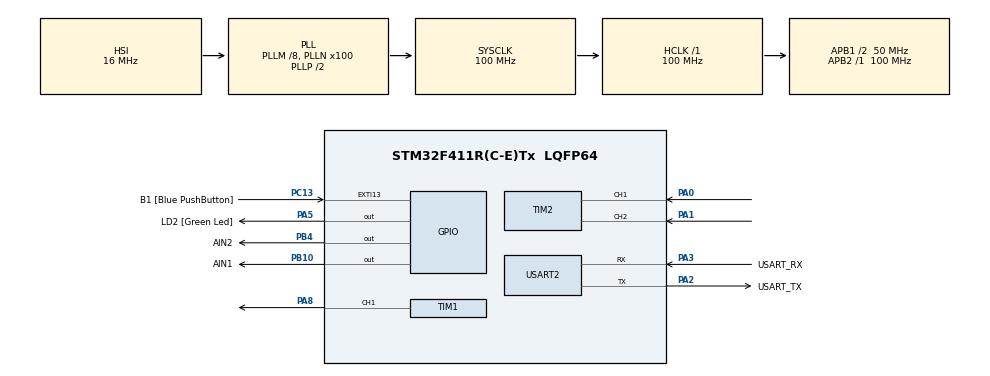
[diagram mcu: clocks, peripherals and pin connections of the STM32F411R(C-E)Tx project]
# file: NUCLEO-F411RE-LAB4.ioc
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ARM.CMSIS.5.6.0.CMSISJjCORE=true
ARM.CMSIS.5.6.0.CMSISJjDSP=Library
Mcu.Family=STM32F4
Mcu.Name=STM32F411R(C-E)Tx
Mcu.Package=LQFP64
NVIC.PriorityGroup=NVIC_PRIORITYGROUP_0
NVIC.TIM3_IRQn=true\:0\:0\:false\:false\:true\:true\:true\:true
PA0-WKUP.Signal=S_TIM2_CH1_ETR
PA1.Signal=S_TIM2_CH2
PA13.GPIO_Label=TMS
PA13.Mode=Trace_Asynchronous_SW
PA13.Signal=SYS_JTMS-SWDIO
PA14.GPIO_Label=TCK
PA14.Mode=Trace_Asynchronous_SW
PA14.Signal=SYS_JTCK-SWCLK
PA2.GPIO_Label=USART_TX
PA2.Mode=Asynchronous
PA2.Signal=USART2_TX
PA3.GPIO_Label=USART_RX
PA3.Mode=Asynchronous
PA3.Signal=USART2_RX
PA5.GPIO_Label=LD2 [Green Led]
PA5.Signal=GPIO_Output
PA8.Signal=S_TIM1_CH1
PB10.GPIO_Label=AIN1
PB10.Signal=GPIO_Output
PB3.GPIO_Label=SWO
PB3.Mode=Trace_Asynchronous_SW
PB3.Signal=SYS_JTDO-SWO
PB4.GPIO_Label=AIN2
PB4.Signal=GPIO_Output
PC13-ANTI_TAMP.GPIO_Label=B1 [Blue PushButton]
PC13-ANTI_TAMP.GPIO_ModeDefaultEXTI=GPIO_MODE_IT_FALLING
PC13-ANTI_TAMP.Signal=GPXTI13
PC14-OSC32_IN.Mode=LSE-External-Oscillator
PC14-OSC32_IN.Signal=RCC_OSC32_IN
PC15-OSC32_OUT.Mode=LSE-External-Oscillator
PC15-OSC32_OUT.Signal=RCC_OSC32_OUT
PH0\ -\ OSC_IN.Mode=HSE-External-Clock-Source
PH0\ -\ OSC_IN.Signal=RCC_OSC_IN
PH1\ -\ OSC_OUT.Mode=HSE-External-Clock-Source
PH1\ -\ OSC_OUT.Signal=RCC_OSC_OUT
ProjectManager.HeapSize=0x200
ProjectManager.StackSize=0x400
ProjectManager.TargetToolchain=STM32CubeIDE
RCC.48MHZClocksFreq_Value=50000000
RCC.AHBFreq_Value=100000000
RCC.APB1CLKDivider=RCC_HCLK_DIV2
RCC.APB1Freq_Value=50000000
RCC.APB1TimFreq_Value=100000000
RCC.APB2Freq_Value=100000000
RCC.APB2TimFreq_Value=100000000
RCC.CortexFreq_Value=100000000
RCC.FLatency-AdvancedSettings=FLASH_LATENCY_3
RCC.HCLKFreq_Value=100000000
RCC.HSE_VALUE=8000000
RCC.HSI_VALUE=16000000
RCC.PLLM=8
RCC.PLLN=100
RCC.SYSCLKFreq_VALUE=100000000
RCC.SYSCLKSource=RCC_SYSCLKSOURCE_PLLCLK
RCC.VCOOutputFreq_Value=200000000
SH.S_TIM1_CH1.0=TIM1_CH1,PWM Generation1 CH1
SH.S_TIM2_CH1_ETR.0=TIM2_CH1,Encoder_Interface
SH.S_TIM2_CH2.0=TIM2_CH2,Encoder_Interface
TIM1.Channel-PWM\ Generation1\ CH1=TIM_CHANNEL_1
TIM1.Period=50000 - 1
TIM1.Prescaler=1 - 1
TIM2.EncoderMode=TIM_ENCODERMODE_TI12
TIM3.Period=50000 - 1
TIM3.Prescaler=2 - 1
USART2.VirtualMode=VM_ASYNC
VP_ARM.CMSIS_VS_CMSISJjCORE_5.3.0_5.6.0.Mode=CMSISJjCORE
VP_ARM.CMSIS_VS_CMSISJjDSP_1.7.0_5.6.0.Mode=CMSISJjDSP
VP_TIM1_VS_ClockSourceINT.Mode=Internal
VP_TIM3_VS_ClockSourceINT.Mode=Internal
board=NUCLEO-F411RE

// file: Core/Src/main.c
/* USER CODE BEGIN Header */
/**
  ******************************************************************************
  * @file           : main.c
  * @brief          : Main program body
  ******************************************************************************
  * @attention
  *
  * Copyright (c) 2023 STMicroelectronics.
  * All rights reserved.
  *
  * This software is licensed under terms that can be found in the LICENSE file
  * in the root directory of this software component.
  * If no LICENSE file comes with this software, it is provided AS-IS.
  *
  ******************************************************************************
  */
/* USER CODE END Header */
#include "main.h"

/* USER CODE BEGIN Includes */
// Tanakon Apithanakun 64340500062
#include "pid_control.h"
/* USER CODE END Includes */

TIM_HandleTypeDef htim1;
TIM_HandleTypeDef htim2;
TIM_HandleTypeDef htim3;

UART_HandleTypeDef huart2;

/* USER CODE BEGIN PV */
MOTOR_Structure M1 = {
		&htim1,
		TIM_CHANNEL_1,
		{GPIOB, GPIO_PIN_10},
		{GPIOB, GPIO_PIN_4}
};

volatile PID_Structure PID1;

volatile float set_position;
volatile float position;
/* USER CODE END PV */

void SystemClock_Config(void);
static void MX_GPIO_Init(void);
static void MX_USART2_UART_Init(void);
static void MX_TIM1_Init(void);
static void MX_TIM2_Init(void);
static void MX_TIM3_Init(void);

int main(void)
{
  /* USER CODE BEGIN 1 */
	set_position = 0;
	position = 0;
  /* USER CODE END 1 */

  /* MCU Configuration--------------------------------------------------------*/

  /* Reset of all peripherals, Initializes the Flash interface and the Systick. */
  HAL_Init();

  /* Configure the system clock */
  SystemClock_Config();

  /* Initialize all configured peripherals */
  MX_GPIO_Init();
  MX_USART2_UART_Init();
  MX_TIM1_Init();
  MX_TIM2_Init();
  MX_TIM3_Init();
  /* USER CODE BEGIN 2 */
  HAL_TIM_Base_Start(&htim1);
  HAL_TIM_PWM_Start(&htim1, TIM_CHANNEL_1);
  HAL_TIM_Encoder_Start(&htim2, TIM_CHANNEL_1 || TIM_CHANNEL_2);
  HAL_TIM_Base_Start_IT(&htim3);
  /* USER CODE END 2 */

  /* Infinite loop */
  /* USER CODE BEGIN WHILE */

  PID1.Kp = 20000;
  PID1.Ki = 0;
  PID1.Kd = 100;
  PID1.Satuation = __HAL_TIM_GET_AUTORELOAD(&htim1) + 1;
  PID1.dt = (__HAL_TIM_GET_AUTORELOAD(&htim3) + 1) * (2) / (100 * 1.0e6);

  while (1)
  {
    /* USER CODE END WHILE */

  }
}

void SystemClock_Config(void)
{
  RCC_OscInitTypeDef RCC_OscInitStruct = {0};
  RCC_ClkInitTypeDef RCC_ClkInitStruct = {0};

  /** Configure the main internal regulator output voltage
  */
  __HAL_RCC_PWR_CLK_ENABLE();
  __HAL_PWR_VOLTAGESCALING_CONFIG(PWR_REGULATOR_VOLTAGE_SCALE1);

  /** Initializes the RCC Oscillators according to the specified parameters
  * in the RCC_OscInitTypeDef structure.
  */
  RCC_OscInitStruct.OscillatorType = RCC_OSCILLATORTYPE_HSI;
  RCC_OscInitStruct.HSIState = RCC_HSI_ON;
  RCC_OscInitStruct.HSICalibrationValue = RCC_HSICALIBRATION_DEFAULT;
  RCC_OscInitStruct.PLL.PLLState = RCC_PLL_ON;
  RCC_OscInitStruct.PLL.PLLSource = RCC_PLLSOURCE_HSI;
  RCC_OscInitStruct.PLL.PLLM = 8;
  RCC_OscInitStruct.PLL.PLLN = 100;
  RCC_OscInitStruct.PLL.PLLP = RCC_PLLP_DIV2;
  RCC_OscInitStruct.PLL.PLLQ = 4;
  if (HAL_RCC_OscConfig(&RCC_OscInitStruct) != HAL_OK)
  {
    Error_Handler();
  }

  /** Initializes the CPU, AHB and APB buses clocks
  */
  RCC_ClkInitStruct.ClockType = RCC_CLOCKTYPE_HCLK|RCC_CLOCKTYPE_SYSCLK
                              |RCC_CLOCKTYPE_PCLK1|RCC_CLOCKTYPE_PCLK2;
  RCC_ClkInitStruct.SYSCLKSource = RCC_SYSCLKSOURCE_PLLCLK;
  RCC_ClkInitStruct.AHBCLKDivider = RCC_SYSCLK_DIV1;
  RCC_ClkInitStruct.APB1CLKDivider = RCC_HCLK_DIV2;
  RCC_ClkInitStruct.APB2CLKDivider = RCC_HCLK_DIV1;

  if (HAL_RCC_ClockConfig(&RCC_ClkInitStruct, FLASH_LATENCY_3) != HAL_OK)
  {
    Error_Handler();
  }
}

static void MX_TIM1_Init(void)
{

  TIM_ClockConfigTypeDef sClockSourceConfig = {0};
  TIM_MasterConfigTypeDef sMasterConfig = {0};
  TIM_OC_InitTypeDef sConfigOC = {0};
  TIM_BreakDeadTimeConfigTypeDef sBreakDeadTimeConfig = {0};

  htim1.Instance = TIM1;
  htim1.Init.Prescaler = 1 - 1;
  htim1.Init.CounterMode = TIM_COUNTERMODE_UP;
  htim1.Init.Period = 50000 - 1;
  htim1.Init.ClockDivision = TIM_CLOCKDIVISION_DIV1;
  htim1.Init.RepetitionCounter = 0;
  htim1.Init.AutoReloadPreload = TIM_AUTORELOAD_PRELOAD_DISABLE;
  if (HAL_TIM_Base_Init(&htim1) != HAL_OK)
  {
    Error_Handler();
  }
  sClockSourceConfig.ClockSource = TIM_CLOCKSOURCE_INTERNAL;
  if (HAL_TIM_ConfigClockSource(&htim1, &sClockSourceConfig) != HAL_OK)
  {
    Error_Handler();
  }
  if (HAL_TIM_PWM_Init(&htim1) != HAL_OK)
  {
    Error_Handler();
  }
  sMasterConfig.MasterOutputTrigger = TIM_TRGO_RESET;
  sMasterConfig.MasterSlaveMode = TIM_MASTERSLAVEMODE_DISABLE;
  if (HAL_TIMEx_MasterConfigSynchronization(&htim1, &sMasterConfig) != HAL_OK)
  {
    Error_Handler();
  }
  sConfigOC.OCMode = TIM_OCMODE_PWM1;
  sConfigOC.Pulse = 0;
  sConfigOC.OCPolarity = TIM_OCPOLARITY_HIGH;
  sConfigOC.OCNPolarity = TIM_OCNPOLARITY_HIGH;
  sConfigOC.OCFastMode = TIM_OCFAST_DISABLE;
  sConfigOC.OCIdleState = TIM_OCIDLESTATE_RESET;
  sConfigOC.OCNIdleState = TIM_OCNIDLESTATE_RESET;
  if (HAL_TIM_PWM_ConfigChannel(&htim1, &sConfigOC, TIM_CHANNEL_1) != HAL_OK)
  {
    Error_Handler();
  }
  sBreakDeadTimeConfig.OffStateRunMode = TIM_OSSR_DISABLE;
  sBreakDeadTimeConfig.OffStateIDLEMode = TIM_OSSI_DISABLE;
  sBreakDeadTimeConfig.LockLevel = TIM_LOCKLEVEL_OFF;
  sBreakDeadTimeConfig.DeadTime = 0;
  sBreakDeadTimeConfig.BreakState = TIM_BREAK_DISABLE;
  sBreakDeadTimeConfig.BreakPolarity = TIM_BREAKPOLARITY_HIGH;
  sBreakDeadTimeConfig.AutomaticOutput = TIM_AUTOMATICOUTPUT_DISABLE;
  if (HAL_TIMEx_ConfigBreakDeadTime(&htim1, &sBreakDeadTimeConfig) != HAL_OK)
  {
    Error_Handler();
  }
  HAL_TIM_MspPostInit(&htim1);

}

static void MX_TIM2_Init(void)
{

  TIM_Encoder_InitTypeDef sConfig = {0};
  TIM_MasterConfigTypeDef sMasterConfig = {0};

  htim2.Instance = TIM2;
  htim2.Init.Prescaler = 0;
  htim2.Init.CounterMode = TIM_COUNTERMODE_UP;
  htim2.Init.Period = 4294967295;
  htim2.Init.ClockDivision = TIM_CLOCKDIVISION_DIV1;
  htim2.Init.AutoReloadPreload = TIM_AUTORELOAD_PRELOAD_DISABLE;
  sConfig.EncoderMode = TIM_ENCODERMODE_TI12;
  sConfig.IC1Polarity = TIM_ICPOLARITY_RISING;
  sConfig.IC1Selection = TIM_ICSELECTION_DIRECTTI;
  sConfig.IC1Prescaler = TIM_ICPSC_DIV1;
  sConfig.IC1Filter = 0;
  sConfig.IC2Polarity = TIM_ICPOLARITY_RISING;
  sConfig.IC2Selection = TIM_ICSELECTION_DIRECTTI;
  sConfig.IC2Prescaler = TIM_ICPSC_DIV1;
  sConfig.IC2Filter = 0;
  if (HAL_TIM_Encoder_Init(&htim2, &sConfig) != HAL_OK)
  {
    Error_Handler();
  }
  sMasterConfig.MasterOutputTrigger = TIM_TRGO_RESET;
  sMasterConfig.MasterSlaveMode = TIM_MASTERSLAVEMODE_DISABLE;
  if (HAL_TIMEx_MasterConfigSynchronization(&htim2, &sMasterConfig) != HAL_OK)
  {
    Error_Handler();
  }

}

static void MX_TIM3_Init(void)
{

  TIM_ClockConfigTypeDef sClockSourceConfig = {0};
  TIM_MasterConfigTypeDef sMasterConfig = {0};

  htim3.Instance = TIM3;
  htim3.Init.Prescaler = 2 - 1;
  htim3.Init.CounterMode = TIM_COUNTERMODE_UP;
  htim3.Init.Period = 50000 - 1;
  htim3.Init.ClockDivision = TIM_CLOCKDIVISION_DIV1;
  htim3.Init.AutoReloadPreload = TIM_AUTORELOAD_PRELOAD_DISABLE;
  if (HAL_TIM_Base_Init(&htim3) != HAL_OK)
  {
    Error_Handler();
  }
  sClockSourceConfig.ClockSource = TIM_CLOCKSOURCE_INTERNAL;
  if (HAL_TIM_ConfigClockSource(&htim3, &sClockSourceConfig) != HAL_OK)
  {
    Error_Handler();
  }
  sMasterConfig.MasterOutputTrigger = TIM_TRGO_RESET;
  sMasterConfig.MasterSlaveMode = TIM_MASTERSLAVEMODE_DISABLE;
  if (HAL_TIMEx_MasterConfigSynchronization(&htim3, &sMasterConfig) != HAL_OK)
  {
    Error_Handler();
  }

}

static void MX_USART2_UART_Init(void)
{

  huart2.Instance = USART2;
  huart2.Init.BaudRate = 115200;
  huart2.Init.WordLength = UART_WORDLENGTH_8B;
  huart2.Init.StopBits = UART_STOPBITS_1;
  huart2.Init.Parity = UART_PARITY_NONE;
  huart2.Init.Mode = UART_MODE_TX_RX;
  huart2.Init.HwFlowCtl = UART_HWCONTROL_NONE;
  huart2.Init.OverSampling = UART_OVERSAMPLING_16;
  if (HAL_UART_Init(&huart2) != HAL_OK)
  {
    Error_Handler();
  }

}

static void MX_GPIO_Init(void)
{
  GPIO_InitTypeDef GPIO_InitStruct = {0};

  /* GPIO Ports Clock Enable */
  __HAL_RCC_GPIOC_CLK_ENABLE();
  __HAL_RCC_GPIOH_CLK_ENABLE();
  __HAL_RCC_GPIOA_CLK_ENABLE();
  __HAL_RCC_GPIOB_CLK_ENABLE();

  /*Configure GPIO pin Output Level */
  HAL_GPIO_WritePin(LD2_GPIO_Port, LD2_Pin, GPIO_PIN_RESET);

  /*Configure GPIO pin Output Level */
  HAL_GPIO_WritePin(GPIOB, AIN1_Pin|AIN2_Pin, GPIO_PIN_RESET);

  /*Configure GPIO pin : B1_Pin */
  GPIO_InitStruct.Pin = B1_Pin;
  GPIO_InitStruct.Mode = GPIO_MODE_IT_FALLING;
  GPIO_InitStruct.Pull = GPIO_NOPULL;
  HAL_GPIO_Init(B1_GPIO_Port, &GPIO_InitStruct);

  /*Configure GPIO pin : LD2_Pin */
  GPIO_InitStruct.Pin = LD2_Pin;
  GPIO_InitStruct.Mode = GPIO_MODE_OUTPUT_PP;
  GPIO_InitStruct.Pull = GPIO_NOPULL;
  GPIO_InitStruct.Speed = GPIO_SPEED_FREQ_LOW;
  HAL_GPIO_Init(LD2_GPIO_Port, &GPIO_InitStruct);

  /*Configure GPIO pins : AIN1_Pin AIN2_Pin */
  GPIO_InitStruct.Pin = AIN1_Pin|AIN2_Pin;
  GPIO_InitStruct.Mode = GPIO_MODE_OUTPUT_PP;
  GPIO_InitStruct.Pull = GPIO_NOPULL;
  GPIO_InitStruct.Speed = GPIO_SPEED_FREQ_LOW;
  HAL_GPIO_Init(GPIOB, &GPIO_InitStruct);

}

/* USER CODE BEGIN 4 */
void HAL_TIM_PeriodElapsedCallback(TIM_HandleTypeDef *htim)
{
	if (htim->Instance == TIM3)
	{
		position = MotorReadPosition(htim2);
		MotorSetDuty(M1, ComputePID(PID1, set_position - position));
	}
}
/* USER CODE END 4 */

void Error_Handler(void)
{
  __disable_irq();
  while (1)
  {
  }
}
